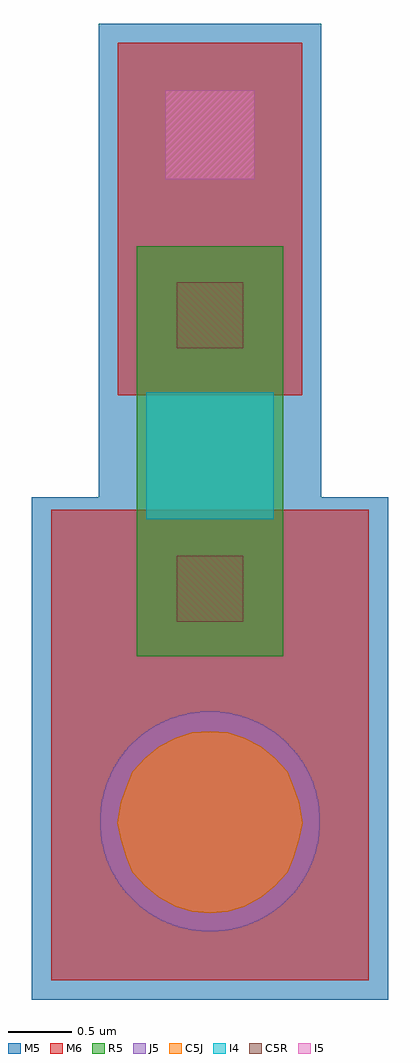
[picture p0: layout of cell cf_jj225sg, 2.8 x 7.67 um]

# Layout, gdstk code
import gdstk
lib = gdstk.Library(unit=1e-6, precision=1e-09)
def R(c, l, rs):  # rectangles x0, y0, x1, y1
    for r in rs: c.add(gdstk.rectangle(r[:2], r[2:], *l))
def P(c, l, *ps):  # polygons
    for p in ps: c.add(gdstk.Polygon(p, *l))
I4 = (41, 0)
M5 = (50, 0)
J5 = (51, 0)
R5 = (52, 0)
I5 = (54, 0)
C5J = (55, 0)
C5R = (56, 0)
M6 = (60, 0)

cf_jj225sg = lib.new_cell('cf_jj225sg')
R(cf_jj225sg, I4, [(-0.5,2.375,0.5,3.375)])
R(cf_jj225sg, M5, [(-1.4,-1.4,1.4,2.55), (-0.875,2.55,0.875,6.275)])
P(cf_jj225sg, J5, [(0,-0.865),(0.065,-0.865),(0.065,-0.86),(0.115,-0.86),(0.115,-0.855),(0.145,-0.855),(0.145,-0.85),(0.175,-0.85),(0.175,-0.845),(0.2,-0.845),(0.2,-0.84),(0.22,-0.84),(0.22,-0.835),(0.235,-0.835),(0.235,-0.83),(0.255,-0.83),(0.255,-0.825),(0.27,-0.825),(0.27,-0.82),(0.285,-0.82),(0.285,-0.815),(0.3,-0.815),(0.3,-0.81),(0.31,-0.81),(0.31,-0.805),(0.325,-0.805),(0.325,-0.8),(0.335,-0.8),(0.335,-0.795),(0.345,-0.795),(0.345,-0.79),(0.36,-0.79),(0.36,-0.785),(0.37,-0.785),(0.37,-0.78),(0.38,-0.78),(0.38,-0.775),(0.39,-0.775),(0.39,-0.77),(0.4,-0.77),(0.4,-0.765),(0.41,-0.765),(0.41,-0.76),(0.42,-0.76),(0.42,-0.755),(0.43,-0.755),(0.43,-0.75),(0.435,-0.75),(0.435,-0.745),(0.445,-0.745),(0.445,-0.74),(0.455,-0.74),(0.455,-0.735),(0.46,-0.735),(0.46,-0.73),(0.47,-0.73),(0.47,-0.725),(0.475,-0.725),(0.475,-0.72),(0.485,-0.72),(0.485,-0.715),(0.49,-0.715),(0.49,-0.71),(0.5,-0.71),(0.5,-0.705),(0.505,-0.705),(0.505,-0.7),(0.515,-0.7),(0.515,-0.695),(0.52,-0.695),(0.52,-0.69),(0.525,-0.69),(0.525,-0.685),(0.53,-0.685),(0.53,-0.68),(0.54,-0.68),(0.54,-0.675),(0.545,-0.675),(0.545,-0.67),(0.55,-0.67),(0.55,-0.665),(0.555,-0.665),(0.555,-0.66),(0.565,-0.66),(0.565,-0.655),(0.57,-0.655),(0.57,-0.65),(0.575,-0.65),(0.575,-0.645),(0.58,-0.645),(0.58,-0.64),(0.585,-0.64),(0.585,-0.635),(0.59,-0.635),(0.59,-0.63),(0.595,-0.63),(0.595,-0.625),(0.6,-0.625),(0.6,-0.62),(0.605,-0.62),(0.605,-0.615),(0.61,-0.615),(0.61,-0.61),(0.615,-0.61),(0.615,-0.605),(0.62,-0.605),(0.62,-0.6),(0.625,-0.6),(0.625,-0.595),(0.63,-0.595),(0.63,-0.59),(0.635,-0.59),(0.635,-0.585),(0.64,-0.585),(0.64,-0.58),(0.645,-0.58),(0.645,-0.575),(0.65,-0.575),(0.65,-0.57),(0.655,-0.57),(0.655,-0.565),(0.66,-0.565),(0.66,-0.56),(0.665,-0.56),(0.665,-0.555),(0.67,-0.555),(0.67,-0.55),(0.67,-0.54),(0.675,-0.54),(0.68,-0.54),(0.68,-0.535),(0.685,-0.535),(0.685,-0.53),(0.69,-0.53),(0.69,-0.525),(0.69,-0.515),(0.695,-0.515),(0.7,-0.515),(0.7,-0.51),(0.705,-0.51),(0.705,-0.505),(0.705,-0.495),(0.71,-0.495),(0.715,-0.495),(0.715,-0.49),(0.715,-0.48),(0.72,-0.48),(0.725,-0.48),(0.725,-0.475),(0.725,-0.465),(0.73,-0.465),(0.735,-0.465),(0.735,-0.46),(0.735,-0.45),(0.74,-0.45),(0.74,-0.44),(0.745,-0.44),(0.75,-0.44),(0.75,-0.435),(0.75,-0.425),(0.755,-0.425),(0.755,-0.415),(0.76,-0.415),(0.76,-0.405),(0.765,-0.405),(0.77,-0.405),(0.77,-0.4),(0.77,-0.39),(0.775,-0.39),(0.775,-0.38),(0.78,-0.38),(0.78,-0.365),(0.785,-0.365),(0.79,-0.365),(0.79,-0.36),(0.79,-0.345),(0.795,-0.345),(0.795,-0.335),(0.8,-0.335),(0.8,-0.325),(0.805,-0.325),(0.805,-0.31),(0.81,-0.31),(0.81,-0.295),(0.815,-0.295),(0.815,-0.28),(0.82,-0.28),(0.82,-0.265),(0.825,-0.265),(0.825,-0.255),(0.83,-0.255),(0.83,-0.235),(0.835,-0.235),(0.835,-0.215),(0.84,-0.215),(0.84,-0.195),(0.845,-0.195),(0.845,-0.175),(0.85,-0.175),(0.85,-0.15),(0.855,-0.15),(0.855,-0.115),(0.86,-0.115),(0.86,-0.07),(0.865,-0.07),(0.865,0.07),(0.86,0.07),(0.86,0.12),(0.855,0.12),(0.855,0.15),(0.85,0.15),(0.85,0.175),(0.845,0.175),(0.845,0.2),(0.84,0.2),(0.84,0.22),(0.835,0.22),(0.835,0.24),(0.83,0.24),(0.83,0.255),(0.825,0.255),(0.825,0.27),(0.82,0.27),(0.82,0.285),(0.815,0.285),(0.815,0.3),(0.81,0.3),(0.81,0.315),(0.805,0.315),(0.805,0.325),(0.8,0.325),(0.8,0.335),(0.795,0.335),(0.795,0.35),(0.79,0.35),(0.79,0.36),(0.785,0.36),(0.785,0.37),(0.78,0.37),(0.78,0.38),(0.775,0.38),(0.775,0.39),(0.77,0.39),(0.77,0.4),(0.765,0.4),(0.765,0.41),(0.76,0.41),(0.76,0.42),(0.755,0.42),(0.755,0.43),(0.75,0.43),(0.745,0.43),(0.745,0.435),(0.745,0.445),(0.74,0.445),(0.74,0.455),(0.735,0.455),(0.735,0.465),(0.73,0.465),(0.725,0.465),(0.725,0.47),(0.725,0.48),(0.72,0.48),(0.715,0.48),(0.715,0.485),(0.71,0.485),(0.71,0.49),(0.71,0.5),(0.705,0.5),(0.7,0.5),(0.7,0.505),(0.7,0.515),(0.695,0.515),(0.69,0.515),(0.69,0.52),(0.685,0.52),(0.685,0.525),(0.685,0.535),(0.68,0.535),(0.675,0.535),(0.675,0.54),(0.67,0.54),(0.67,0.545),(0.665,0.545),(0.665,0.55),(0.665,0.56),(0.66,0.56),(0.655,0.56),(0.655,0.565),(0.65,0.565),(0.65,0.57),(0.645,0.57),(0.645,0.575),(0.64,0.575),(0.64,0.58),(0.635,0.58),(0.635,0.585),(0.63,0.585),(0.63,0.59),(0.625,0.59),(0.625,0.595),(0.62,0.595),(0.62,0.6),(0.62,0.61),(0.615,0.61),(0.61,0.61),(0.61,0.615),(0.605,0.615),(0.605,0.62),(0.6,0.62),(0.6,0.625),(0.595,0.625),(0.595,0.63),(0.59,0.63),(0.59,0.635),(0.585,0.635),(0.585,0.64),(0.58,0.64),(0.58,0.645),(0.575,0.645),(0.575,0.65),(0.565,0.65),(0.565,0.655),(0.56,0.655),(0.56,0.66),(0.555,0.66),(0.555,0.665),(0.55,0.665),(0.55,0.67),(0.545,0.67),(0.545,0.675),(0.54,0.675),(0.54,0.68),(0.53,0.68),(0.53,0.685),(0.525,0.685),(0.525,0.69),(0.52,0.69),(0.52,0.695),(0.515,0.695),(0.515,0.7),(0.505,0.7),(0.505,0.705),(0.5,0.705),(0.5,0.71),(0.49,0.71),(0.49,0.715),(0.485,0.715),(0.485,0.72),(0.475,0.72),(0.475,0.725),(0.465,0.725),(0.465,0.73),(0.46,0.73),(0.46,0.735),(0.45,0.735),(0.45,0.74),(0.445,0.74),(0.445,0.745),(0.435,0.745),(0.435,0.75),(0.425,0.75),(0.425,0.755),(0.42,0.755),(0.42,0.76),(0.41,0.76),(0.41,0.765),(0.4,0.765),(0.4,0.77),(0.39,0.77),(0.39,0.775),(0.38,0.775),(0.38,0.78),(0.37,0.78),(0.37,0.785),(0.36,0.785),(0.36,0.79),(0.345,0.79),(0.345,0.795),(0.335,0.795),(0.335,0.8),(0.325,0.8),(0.325,0.805),(0.31,0.805),(0.31,0.81),(0.295,0.81),(0.295,0.815),(0.285,0.815),(0.285,0.82),(0.27,0.82),(0.27,0.825),(0.25,0.825),(0.25,0.83),(0.235,0.83),(0.235,0.835),(0.22,0.835),(0.22,0.84),(0.195,0.84),(0.195,0.845),(0.175,0.845),(0.175,0.85),(0.15,0.85),(0.15,0.855),(0.12,0.855),(0.12,0.86),(0.075,0.86),(0.075,0.865),(-0.075,0.865),(-0.075,0.86),(-0.12,0.86),(-0.12,0.855),(-0.155,0.855),(-0.155,0.85),(-0.18,0.85),(-0.18,0.845),(-0.2,0.845),(-0.2,0.84),(-0.22,0.84),(-0.22,0.835),(-0.24,0.835),(-0.24,0.83),(-0.255,0.83),(-0.255,0.825),(-0.27,0.825),(-0.27,0.82),(-0.285,0.82),(-0.285,0.815),(-0.3,0.815),(-0.3,0.81),(-0.315,0.81),(-0.315,0.805),(-0.325,0.805),(-0.325,0.8),(-0.335,0.8),(-0.335,0.795),(-0.35,0.795),(-0.35,0.79),(-0.36,0.79),(-0.36,0.785),(-0.37,0.785),(-0.37,0.78),(-0.385,0.78),(-0.385,0.775),(-0.39,0.775),(-0.39,0.77),(-0.4,0.77),(-0.4,0.765),(-0.41,0.765),(-0.41,0.76),(-0.42,0.76),(-0.42,0.755),(-0.43,0.755),(-0.43,0.75),(-0.44,0.75),(-0.44,0.745),(-0.445,0.745),(-0.445,0.74),(-0.455,0.74),(-0.455,0.735),(-0.465,0.735),(-0.465,0.73),(-0.47,0.73),(-0.47,0.725),(-0.48,0.725),(-0.48,0.72),(-0.485,0.72),(-0.485,0.715),(-0.49,0.715),(-0.49,0.71),(-0.5,0.71),(-0.5,0.705),(-0.505,0.705),(-0.505,0.7),(-0.515,0.7),(-0.515,0.695),(-0.52,0.695),(-0.52,0.69),(-0.525,0.69),(-0.525,0.685),(-0.535,0.685),(-0.535,0.68),(-0.54,0.68),(-0.54,0.675),(-0.545,0.675),(-0.545,0.67),(-0.55,0.67),(-0.55,0.665),(-0.56,0.665),(-0.56,0.66),(-0.565,0.66),(-0.565,0.655),(-0.57,0.655),(-0.57,0.65),(-0.575,0.65),(-0.575,0.645),(-0.58,0.645),(-0.58,0.64),(-0.585,0.64),(-0.585,0.635),(-0.59,0.635),(-0.59,0.63),(-0.595,0.63),(-0.595,0.625),(-0.6,0.625),(-0.6,0.62),(-0.61,0.62),(-0.61,0.615),(-0.615,0.615),(-0.615,0.61),(-0.62,0.61),(-0.62,0.605),(-0.625,0.605),(-0.625,0.6),(-0.63,0.6),(-0.63,0.595),(-0.635,0.595),(-0.635,0.59),(-0.64,0.59),(-0.64,0.585),(-0.645,0.585),(-0.645,0.58),(-0.65,0.58),(-0.65,0.575),(-0.65,0.565),(-0.655,0.565),(-0.66,0.565),(-0.66,0.56),(-0.665,0.56),(-0.665,0.555),(-0.67,0.555),(-0.67,0.55),(-0.675,0.55),(-0.675,0.545),(-0.68,0.545),(-0.68,0.54),(-0.68,0.53),(-0.685,0.53),(-0.69,0.53),(-0.69,0.525),(-0.695,0.525),(-0.695,0.52),(-0.695,0.51),(-0.7,0.51),(-0.705,0.51),(-0.705,0.505),(-0.71,0.505),(-0.71,0.5),(-0.71,0.49),(-0.715,0.49),(-0.72,0.49),(-0.72,0.485),(-0.72,0.475),(-0.725,0.475),(-0.725,0.465),(-0.73,0.465),(-0.735,0.465),(-0.735,0.46),(-0.735,0.45),(-0.74,0.45),(-0.745,0.45),(-0.745,0.445),(-0.745,0.435),(-0.75,0.435),(-0.75,0.425),(-0.755,0.425),(-0.76,0.425),(-0.76,0.42),(-0.76,0.41),(-0.765,0.41),(-0.765,0.4),(-0.77,0.4),(-0.77,0.39),(-0.775,0.39),(-0.775,0.38),(-0.78,0.38),(-0.78,0.37),(-0.785,0.37),(-0.785,0.355),(-0.79,0.355),(-0.79,0.345),(-0.795,0.345),(-0.795,0.335),(-0.8,0.335),(-0.8,0.325),(-0.805,0.325),(-0.805,0.31),(-0.81,0.31),(-0.81,0.295),(-0.815,0.295),(-0.815,0.285),(-0.82,0.285),(-0.82,0.27),(-0.825,0.27),(-0.825,0.25),(-0.83,0.25),(-0.83,0.235),(-0.835,0.235),(-0.835,0.215),(-0.84,0.215),(-0.84,0.195),(-0.845,0.195),(-0.845,0.175),(-0.85,0.175),(-0.85,0.15),(-0.855,0.15),(-0.855,0.115),(-0.86,0.115),(-0.86,0.07),(-0.865,0.07),(-0.865,-0.07),(-0.86,-0.07),(-0.86,-0.115),(-0.855,-0.115),(-0.855,-0.15),(-0.85,-0.15),(-0.85,-0.175),(-0.845,-0.175),(-0.845,-0.195),(-0.84,-0.195),(-0.84,-0.22),(-0.835,-0.22),(-0.835,-0.235),(-0.83,-0.235),(-0.83,-0.255),(-0.825,-0.255),(-0.825,-0.27),(-0.82,-0.27),(-0.82,-0.285),(-0.815,-0.285),(-0.815,-0.3),(-0.81,-0.3),(-0.81,-0.31),(-0.805,-0.31),(-0.805,-0.325),(-0.8,-0.325),(-0.8,-0.335),(-0.795,-0.335),(-0.795,-0.35),(-0.79,-0.35),(-0.79,-0.36),(-0.785,-0.36),(-0.785,-0.37),(-0.78,-0.37),(-0.78,-0.38),(-0.775,-0.38),(-0.775,-0.39),(-0.77,-0.39),(-0.77,-0.4),(-0.765,-0.4),(-0.765,-0.41),(-0.76,-0.41),(-0.76,-0.42),(-0.755,-0.42),(-0.75,-0.42),(-0.75,-0.425),(-0.75,-0.435),(-0.745,-0.435),(-0.745,-0.445),(-0.74,-0.445),(-0.74,-0.455),(-0.735,-0.455),(-0.73,-0.455),(-0.73,-0.46),(-0.73,-0.47),(-0.725,-0.47),(-0.72,-0.47),(-0.72,-0.475),(-0.72,-0.485),(-0.715,-0.485),(-0.715,-0.495),(-0.71,-0.495),(-0.705,-0.495),(-0.705,-0.5),(-0.7,-0.5),(-0.7,-0.505),(-0.7,-0.515),(-0.695,-0.515),(-0.69,-0.515),(-0.69,-0.52),(-0.685,-0.52),(-0.685,-0.525),(-0.685,-0.535),(-0.68,-0.535),(-0.675,-0.535),(-0.675,-0.54),(-0.67,-0.54),(-0.67,-0.545),(-0.665,-0.545),(-0.665,-0.55),(-0.665,-0.56),(-0.66,-0.56),(-0.655,-0.56),(-0.655,-0.565),(-0.65,-0.565),(-0.65,-0.57),(-0.645,-0.57),(-0.645,-0.575),(-0.64,-0.575),(-0.64,-0.58),(-0.635,-0.58),(-0.635,-0.585),(-0.63,-0.585),(-0.63,-0.59),(-0.625,-0.59),(-0.625,-0.595),(-0.62,-0.595),(-0.62,-0.6),(-0.615,-0.6),(-0.615,-0.605),(-0.61,-0.605),(-0.61,-0.61),(-0.605,-0.61),(-0.605,-0.615),(-0.6,-0.615),(-0.6,-0.62),(-0.595,-0.62),(-0.595,-0.625),(-0.59,-0.625),(-0.59,-0.63),(-0.585,-0.63),(-0.585,-0.635),(-0.58,-0.635),(-0.58,-0.64),(-0.575,-0.64),(-0.575,-0.645),(-0.57,-0.645),(-0.57,-0.65),(-0.565,-0.65),(-0.565,-0.655),(-0.56,-0.655),(-0.56,-0.66),(-0.555,-0.66),(-0.555,-0.665),(-0.55,-0.665),(-0.55,-0.67),(-0.545,-0.67),(-0.545,-0.675),(-0.535,-0.675),(-0.535,-0.68),(-0.53,-0.68),(-0.53,-0.685),(-0.525,-0.685),(-0.525,-0.69),(-0.52,-0.69),(-0.52,-0.695),(-0.51,-0.695),(-0.51,-0.7),(-0.505,-0.7),(-0.505,-0.705),(-0.495,-0.705),(-0.495,-0.71),(-0.49,-0.71),(-0.49,-0.715),(-0.485,-0.715),(-0.485,-0.72),(-0.475,-0.72),(-0.475,-0.725),(-0.465,-0.725),(-0.465,-0.73),(-0.46,-0.73),(-0.46,-0.735),(-0.45,-0.735),(-0.45,-0.74),(-0.445,-0.74),(-0.445,-0.745),(-0.435,-0.745),(-0.435,-0.75),(-0.425,-0.75),(-0.425,-0.755),(-0.415,-0.755),(-0.415,-0.76),(-0.41,-0.76),(-0.41,-0.765),(-0.4,-0.765),(-0.4,-0.77),(-0.39,-0.77),(-0.39,-0.775),(-0.38,-0.775),(-0.38,-0.78),(-0.37,-0.78),(-0.37,-0.785),(-0.355,-0.785),(-0.355,-0.79),(-0.345,-0.79),(-0.345,-0.795),(-0.335,-0.795),(-0.335,-0.8),(-0.32,-0.8),(-0.32,-0.805),(-0.31,-0.805),(-0.31,-0.81),(-0.295,-0.81),(-0.295,-0.815),(-0.28,-0.815),(-0.28,-0.82),(-0.27,-0.82),(-0.27,-0.825),(-0.25,-0.825),(-0.25,-0.83),(-0.235,-0.83),(-0.235,-0.835),(-0.215,-0.835),(-0.215,-0.84),(-0.195,-0.84),(-0.195,-0.845),(-0.17,-0.845),(-0.17,-0.85),(-0.145,-0.85),(-0.145,-0.855),(-0.11,-0.855),(-0.11,-0.86),(-0.065,-0.86),(-0.065,-0.865)])
R(cf_jj225sg, R5, [(-0.575,1.3,0.575,4.525)])
R(cf_jj225sg, I5, [(-0.35,5.05,0.35,5.75)])
P(cf_jj225sg, C5J, [(0,-0.72),(0.14,-0.71),(0.27,-0.67),(0.4,-0.6),(0.51,-0.51),(0.61,-0.4),(0.66,-0.28),(0.7,-0.14),(0.73,-0.01),(0.7,0.15),(0.66,0.27),(0.61,0.39),(0.51,0.5),(0.4,0.59),(0.27,0.66),(0.14,0.7),(0,0.71),(-0.14,0.7),(-0.27,0.66),(-0.4,0.59),(-0.51,0.5),(-0.61,0.39),(-0.66,0.27),(-0.7,0.15),(-0.73,-0.01),(-0.7,-0.14),(-0.66,-0.28),(-0.61,-0.4),(-0.51,-0.51),(-0.4,-0.6),(-0.27,-0.67),(-0.14,-0.71)])
R(cf_jj225sg, C5R, [(-0.26,1.57,0.26,2.09), (-0.26,3.72,0.26,4.24)])
R(cf_jj225sg, M6, [(-1.25,-1.25,1.25,2.45), (-0.725,3.35,0.725,6.125)])

lib.write_gds('cf_jj225sg.gds')
